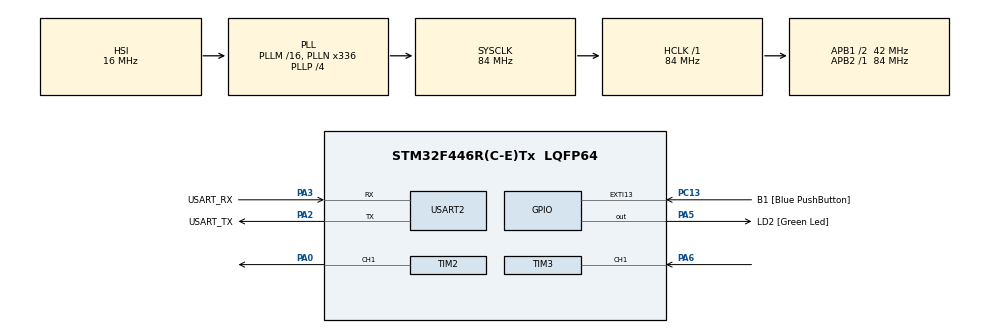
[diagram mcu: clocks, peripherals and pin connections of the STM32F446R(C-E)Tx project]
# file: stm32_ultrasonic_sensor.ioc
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Mcu.Family=STM32F4
Mcu.Name=STM32F446R(C-E)Tx
Mcu.Package=LQFP64
NVIC.PriorityGroup=NVIC_PRIORITYGROUP_0
NVIC.TIM3_IRQn=true\:0\:0\:false\:false\:true\:true\:true\:true
PA0-WKUP.Signal=S_TIM2_CH1_ETR
PA13.GPIO_Label=TMS
PA13.Mode=Serial_Wire
PA13.Signal=SYS_JTMS-SWDIO
PA14.GPIO_Label=TCK
PA14.Mode=Serial_Wire
PA14.Signal=SYS_JTCK-SWCLK
PA2.GPIO_Label=USART_TX
PA2.Mode=Asynchronous
PA2.Signal=USART2_TX
PA3.GPIO_Label=USART_RX
PA3.Mode=Asynchronous
PA3.Signal=USART2_RX
PA5.GPIO_Label=LD2 [Green Led]
PA5.Signal=GPIO_Output
PA6.Signal=S_TIM3_CH1
PB3.GPIO_Label=SWO
PB3.Signal=SYS_JTDO-SWO
PC13.GPIO_Label=B1 [Blue PushButton]
PC13.GPIO_ModeDefaultEXTI=GPIO_MODE_IT_FALLING
PC13.Signal=GPXTI13
PC14-OSC32_IN.Mode=LSE-External-Oscillator
PC14-OSC32_IN.Signal=RCC_OSC32_IN
PC15-OSC32_OUT.Mode=LSE-External-Oscillator
PC15-OSC32_OUT.Signal=RCC_OSC32_OUT
PH0-OSC_IN.Mode=HSE-External-Oscillator
PH0-OSC_IN.Signal=RCC_OSC_IN
PH1-OSC_OUT.Mode=HSE-External-Oscillator
PH1-OSC_OUT.Signal=RCC_OSC_OUT
ProjectManager.HeapSize=0x200
ProjectManager.StackSize=0x400
ProjectManager.TargetToolchain=STM32CubeIDE
RCC.48MHZClocksFreq_Value=84000000
RCC.AHBFreq_Value=84000000
RCC.APB1CLKDivider=RCC_HCLK_DIV2
RCC.APB1Freq_Value=42000000
RCC.APB1TimFreq_Value=84000000
RCC.APB2Freq_Value=84000000
RCC.APB2TimFreq_Value=84000000
RCC.CortexFreq_Value=84000000
RCC.FLatency-AdvancedSettings=FLASH_LATENCY_2
RCC.HCLKFreq_Value=84000000
RCC.HSE_VALUE=8000000
RCC.HSI_VALUE=16000000
RCC.PLLN=336
RCC.PLLP=RCC_PLLP_DIV4
RCC.SYSCLKFreq_VALUE=84000000
RCC.SYSCLKSource=RCC_SYSCLKSOURCE_PLLCLK
RCC.USBFreq_Value=168000000
RCC.VCOOutputFreq_Value=336000000
SH.S_TIM2_CH1_ETR.0=TIM2_CH1,PWM Generation1 CH1
SH.S_TIM3_CH1.0=TIM3_CH1,Input_Capture1_from_TI1
TIM2.Channel-PWM\ Generation1\ CH1=TIM_CHANNEL_1
TIM2.Period=83999999
TIM2.Pulse-PWM\ Generation1\ CH1=840
TIM3.Channel-Input_Capture1_from_TI1=TIM_CHANNEL_1
TIM3.ICPolarity_CH1=TIM_INPUTCHANNELPOLARITY_BOTHEDGE
USART2.VirtualMode=VM_ASYNC
VP_TIM3_VS_ClockSourceINT.Mode=Internal
board=NUCLEO-F446RE

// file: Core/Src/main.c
/* USER CODE BEGIN Header */
/**
  ******************************************************************************
  * @file           : main.c
  * @brief          : Main program body
  ******************************************************************************
  * @attention
  *
  * Copyright (c) 2025 STMicroelectronics.
  * All rights reserved.
  *
  * This software is licensed under terms that can be found in the LICENSE file
  * in the root directory of this software component.
  * If no LICENSE file comes with this software, it is provided AS-IS.
  *
  ******************************************************************************
  */
/* USER CODE END Header */
#include "main.h"

/* USER CODE BEGIN Includes */
#include "stdio.h"
/* USER CODE END Includes */

TIM_HandleTypeDef htim2;
TIM_HandleTypeDef htim3;

UART_HandleTypeDef huart2;

/* USER CODE BEGIN PV */

uint8_t flag = 0;
uint32_t first_capture;
uint32_t second_capture;
uint32_t len;
char buffer[64];
float duration;
float distance;

/* USER CODE END PV */

void SystemClock_Config(void);
static void MX_GPIO_Init(void);
static void MX_USART2_UART_Init(void);
static void MX_TIM2_Init(void);
static void MX_TIM3_Init(void);

int main(void)
{

  /* MCU Configuration--------------------------------------------------------*/

  /* Reset of all peripherals, Initializes the Flash interface and the Systick. */
  HAL_Init();

  /* Configure the system clock */
  SystemClock_Config();

  /* Initialize all configured peripherals */
  MX_GPIO_Init();
  MX_USART2_UART_Init();
  MX_TIM2_Init();
  MX_TIM3_Init();
  /* USER CODE BEGIN 2 */

  HAL_TIM_PWM_Start(&htim2, TIM_CHANNEL_1);

  HAL_TIM_IC_Start_IT(&htim3, TIM_CHANNEL_1);

  /* USER CODE END 2 */

  /* Infinite loop */
  while (1)
  {

    /* USER CODE BEGIN 3 */
//	  len = sprintf(buffer, "Distance: %f (mm)\n\r", distance);
//	  HAL_UART_Transmit(&huart2, (uint8_t*)buffer, len, HAL_MAX_DELAY);
  }
  /* USER CODE END 3 */
}

void SystemClock_Config(void)
{
  RCC_OscInitTypeDef RCC_OscInitStruct = {0};
  RCC_ClkInitTypeDef RCC_ClkInitStruct = {0};

  /** Configure the main internal regulator output voltage
  */
  __HAL_RCC_PWR_CLK_ENABLE();
  __HAL_PWR_VOLTAGESCALING_CONFIG(PWR_REGULATOR_VOLTAGE_SCALE3);

  /** Initializes the RCC Oscillators according to the specified parameters
  * in the RCC_OscInitTypeDef structure.
  */
  RCC_OscInitStruct.OscillatorType = RCC_OSCILLATORTYPE_HSI;
  RCC_OscInitStruct.HSIState = RCC_HSI_ON;
  RCC_OscInitStruct.HSICalibrationValue = RCC_HSICALIBRATION_DEFAULT;
  RCC_OscInitStruct.PLL.PLLState = RCC_PLL_ON;
  RCC_OscInitStruct.PLL.PLLSource = RCC_PLLSOURCE_HSI;
  RCC_OscInitStruct.PLL.PLLM = 16;
  RCC_OscInitStruct.PLL.PLLN = 336;
  RCC_OscInitStruct.PLL.PLLP = RCC_PLLP_DIV4;
  RCC_OscInitStruct.PLL.PLLQ = 2;
  RCC_OscInitStruct.PLL.PLLR = 2;
  if (HAL_RCC_OscConfig(&RCC_OscInitStruct) != HAL_OK)
  {
    Error_Handler();
  }

  /** Initializes the CPU, AHB and APB buses clocks
  */
  RCC_ClkInitStruct.ClockType = RCC_CLOCKTYPE_HCLK|RCC_CLOCKTYPE_SYSCLK
                              |RCC_CLOCKTYPE_PCLK1|RCC_CLOCKTYPE_PCLK2;
  RCC_ClkInitStruct.SYSCLKSource = RCC_SYSCLKSOURCE_PLLCLK;
  RCC_ClkInitStruct.AHBCLKDivider = RCC_SYSCLK_DIV1;
  RCC_ClkInitStruct.APB1CLKDivider = RCC_HCLK_DIV2;
  RCC_ClkInitStruct.APB2CLKDivider = RCC_HCLK_DIV1;

  if (HAL_RCC_ClockConfig(&RCC_ClkInitStruct, FLASH_LATENCY_2) != HAL_OK)
  {
    Error_Handler();
  }
}

static void MX_TIM2_Init(void)
{

  TIM_MasterConfigTypeDef sMasterConfig = {0};
  TIM_OC_InitTypeDef sConfigOC = {0};

  htim2.Instance = TIM2;
  htim2.Init.Prescaler = 0;
  htim2.Init.CounterMode = TIM_COUNTERMODE_UP;
  htim2.Init.Period = 83999999;
  htim2.Init.ClockDivision = TIM_CLOCKDIVISION_DIV1;
  htim2.Init.AutoReloadPreload = TIM_AUTORELOAD_PRELOAD_DISABLE;
  if (HAL_TIM_PWM_Init(&htim2) != HAL_OK)
  {
    Error_Handler();
  }
  sMasterConfig.MasterOutputTrigger = TIM_TRGO_RESET;
  sMasterConfig.MasterSlaveMode = TIM_MASTERSLAVEMODE_DISABLE;
  if (HAL_TIMEx_MasterConfigSynchronization(&htim2, &sMasterConfig) != HAL_OK)
  {
    Error_Handler();
  }
  sConfigOC.OCMode = TIM_OCMODE_PWM1;
  sConfigOC.Pulse = 840;
  sConfigOC.OCPolarity = TIM_OCPOLARITY_HIGH;
  sConfigOC.OCFastMode = TIM_OCFAST_DISABLE;
  if (HAL_TIM_PWM_ConfigChannel(&htim2, &sConfigOC, TIM_CHANNEL_1) != HAL_OK)
  {
    Error_Handler();
  }
  HAL_TIM_MspPostInit(&htim2);

}

static void MX_TIM3_Init(void)
{

  TIM_ClockConfigTypeDef sClockSourceConfig = {0};
  TIM_MasterConfigTypeDef sMasterConfig = {0};
  TIM_IC_InitTypeDef sConfigIC = {0};

  htim3.Instance = TIM3;
  htim3.Init.Prescaler = 0;
  htim3.Init.CounterMode = TIM_COUNTERMODE_UP;
  htim3.Init.Period = 65535;
  htim3.Init.ClockDivision = TIM_CLOCKDIVISION_DIV1;
  htim3.Init.AutoReloadPreload = TIM_AUTORELOAD_PRELOAD_DISABLE;
  if (HAL_TIM_Base_Init(&htim3) != HAL_OK)
  {
    Error_Handler();
  }
  sClockSourceConfig.ClockSource = TIM_CLOCKSOURCE_INTERNAL;
  if (HAL_TIM_ConfigClockSource(&htim3, &sClockSourceConfig) != HAL_OK)
  {
    Error_Handler();
  }
  if (HAL_TIM_IC_Init(&htim3) != HAL_OK)
  {
    Error_Handler();
  }
  sMasterConfig.MasterOutputTrigger = TIM_TRGO_RESET;
  sMasterConfig.MasterSlaveMode = TIM_MASTERSLAVEMODE_DISABLE;
  if (HAL_TIMEx_MasterConfigSynchronization(&htim3, &sMasterConfig) != HAL_OK)
  {
    Error_Handler();
  }
  sConfigIC.ICPolarity = TIM_INPUTCHANNELPOLARITY_BOTHEDGE;
  sConfigIC.ICSelection = TIM_ICSELECTION_DIRECTTI;
  sConfigIC.ICPrescaler = TIM_ICPSC_DIV1;
  sConfigIC.ICFilter = 0;
  if (HAL_TIM_IC_ConfigChannel(&htim3, &sConfigIC, TIM_CHANNEL_1) != HAL_OK)
  {
    Error_Handler();
  }

}

static void MX_USART2_UART_Init(void)
{

  huart2.Instance = USART2;
  huart2.Init.BaudRate = 115200;
  huart2.Init.WordLength = UART_WORDLENGTH_8B;
  huart2.Init.StopBits = UART_STOPBITS_1;
  huart2.Init.Parity = UART_PARITY_NONE;
  huart2.Init.Mode = UART_MODE_TX_RX;
  huart2.Init.HwFlowCtl = UART_HWCONTROL_NONE;
  huart2.Init.OverSampling = UART_OVERSAMPLING_16;
  if (HAL_UART_Init(&huart2) != HAL_OK)
  {
    Error_Handler();
  }

}

static void MX_GPIO_Init(void)
{
  GPIO_InitTypeDef GPIO_InitStruct = {0};

  /* GPIO Ports Clock Enable */
  __HAL_RCC_GPIOC_CLK_ENABLE();
  __HAL_RCC_GPIOH_CLK_ENABLE();
  __HAL_RCC_GPIOA_CLK_ENABLE();
  __HAL_RCC_GPIOB_CLK_ENABLE();

  /*Configure GPIO pin Output Level */
  HAL_GPIO_WritePin(LD2_GPIO_Port, LD2_Pin, GPIO_PIN_RESET);

  /*Configure GPIO pin : B1_Pin */
  GPIO_InitStruct.Pin = B1_Pin;
  GPIO_InitStruct.Mode = GPIO_MODE_IT_FALLING;
  GPIO_InitStruct.Pull = GPIO_NOPULL;
  HAL_GPIO_Init(B1_GPIO_Port, &GPIO_InitStruct);

  /*Configure GPIO pin : LD2_Pin */
  GPIO_InitStruct.Pin = LD2_Pin;
  GPIO_InitStruct.Mode = GPIO_MODE_OUTPUT_PP;
  GPIO_InitStruct.Pull = GPIO_NOPULL;
  GPIO_InitStruct.Speed = GPIO_SPEED_FREQ_LOW;
  HAL_GPIO_Init(LD2_GPIO_Port, &GPIO_InitStruct);

}

/* USER CODE BEGIN 4 */

void HAL_TIM_IC_CaptureCallback(TIM_HandleTypeDef *htim)
{
	if (htim->Channel == HAL_TIM_ACTIVE_CHANNEL_1) // If the interrupt is triggered by channel 1
	{

		if (flag == 0)
		{
			first_capture = HAL_TIM_ReadCapturedValue(htim, TIM_CHANNEL_1);
			flag = 1;
		}
		else
		{
			second_capture = HAL_TIM_ReadCapturedValue(htim, TIM_CHANNEL_1);

			if (second_capture > first_capture){
				duration = ((float)(second_capture - first_capture))*(1/84000000.0);
				distance = (duration*343*0.001*1000000)/2;
			}

			if (second_capture < first_capture){

				second_capture = second_capture + (htim->Instance->ARR);

				duration = ((float)(second_capture - first_capture))*(1/84000000.0);
				distance = (duration*343*0.001*1000000)/2;
			}

			if (duration < 0.050)
			{
				len = sprintf(buffer, "Distance: %f (mm)\n\r", duration*1000);
				HAL_UART_Transmit(&huart2, (uint8_t*)buffer, len, HAL_MAX_DELAY);
			}

			flag = 0;
		}

//		// Read the IC value
//		IC_ch1 = HAL_TIM_ReadCapturedValue(htim, TIM_CHANNEL_1);
//
//		if (IC_ch1 != 0)
//		{
//			IC_ch2 = HAL_TIM_ReadCapturedValue(htim, TIM_CHANNEL_2);
//			duty_cycle = ((float)IC_ch2/(float)IC_ch1)*100;
//			Frequency = 84000000.0/(float)IC_ch1;
//		}
	}
}

/* USER CODE END 4 */

void Error_Handler(void)
{
  __disable_irq();
  while (1)
  {
  }
}
